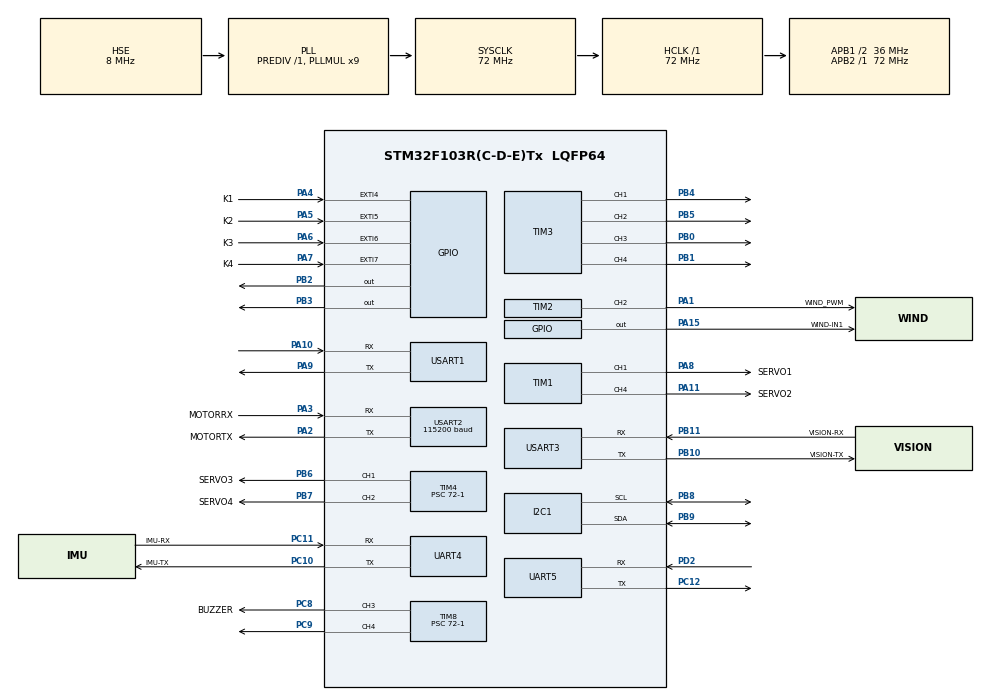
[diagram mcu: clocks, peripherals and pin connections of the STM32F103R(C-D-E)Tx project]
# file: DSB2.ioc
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I2C1.I2C_Mode=I2C_Fast
Mcu.Family=STM32F1
Mcu.Name=STM32F103R(C-D-E)Tx
Mcu.Package=LQFP64
NVIC.EXTI4_IRQn=true\:11\:0\:true\:false\:true\:true\:true\:true
NVIC.EXTI9_5_IRQn=true\:11\:0\:true\:false\:true\:true\:true\:true
NVIC.PriorityGroup=NVIC_PRIORITYGROUP_4
NVIC.TIM5_IRQn=true\:1\:0\:true\:false\:true\:true\:true\:true
NVIC.TIM6_IRQn=true\:1\:0\:true\:false\:true\:true\:true\:true
NVIC.TIM7_IRQn=true\:2\:0\:true\:false\:true\:true\:true\:true
NVIC.UART4_IRQn=true\:0\:0\:false\:false\:true\:true\:true\:true
NVIC.UART5_IRQn=true\:0\:0\:true\:false\:true\:true\:true\:true
NVIC.USART2_IRQn=true\:0\:0\:false\:false\:true\:true\:true\:true
NVIC.USART3_IRQn=true\:1\:0\:true\:false\:true\:true\:true\:true
PA1.GPIO_Label=WIND_PWM
PA1.Signal=S_TIM2_CH2
PA10.Mode=Asynchronous
PA10.Signal=USART1_RX
PA11.GPIO_Label=SERVO2
PA11.Signal=S_TIM1_CH4
PA13.Mode=Serial_Wire
PA13.Signal=SYS_JTMS-SWDIO
PA14.Mode=Serial_Wire
PA14.Signal=SYS_JTCK-SWCLK
PA15.GPIO_Label=WIND-IN1
PA15.Signal=GPIO_Output
PA2.GPIO_Label=MOTORTX
PA2.Mode=Asynchronous
PA2.Signal=USART2_TX
PA3.GPIO_Label=MOTORRX
PA3.Mode=Asynchronous
PA3.Signal=USART2_RX
PA4.GPIO_Label=K1
PA4.GPIO_PuPd=GPIO_PULLUP
PA4.Signal=GPXTI4
PA5.GPIO_Label=K2
PA5.GPIO_PuPd=GPIO_PULLUP
PA5.Signal=GPXTI5
PA6.GPIO_Label=K3
PA6.GPIO_PuPd=GPIO_PULLUP
PA6.Signal=GPXTI6
PA7.GPIO_Label=K4
PA7.GPIO_PuPd=GPIO_PULLUP
PA7.Signal=GPXTI7
PA8.GPIO_Label=SERVO1
PA8.Signal=S_TIM1_CH1
PA9.Mode=Asynchronous
PA9.Signal=USART1_TX
PB0.Signal=S_TIM3_CH3
PB1.Signal=S_TIM3_CH4
PB10.GPIO_Label=VISION-TX
PB10.Mode=Asynchronous
PB10.Signal=USART3_TX
PB11.GPIO_Label=VISION-RX
PB11.Mode=Asynchronous
PB11.Signal=USART3_RX
PB2.Signal=GPIO_Output
PB3.Signal=GPIO_Output
PB4.Signal=S_TIM3_CH1
PB5.Signal=S_TIM3_CH2
PB6.GPIO_Label=SERVO3
PB6.Signal=S_TIM4_CH1
PB7.GPIO_Label=SERVO4
PB7.Signal=S_TIM4_CH2
PB8.Mode=I2C
PB8.Signal=I2C1_SCL
PB9.Mode=I2C
PB9.Signal=I2C1_SDA
PC10.GPIO_Label=IMU-TX
PC10.Mode=Asynchronous
PC10.Signal=UART4_TX
PC11.GPIO_Label=IMU-RX
PC11.Mode=Asynchronous
PC11.Signal=UART4_RX
PC12.Mode=Asynchronous
PC12.Signal=UART5_TX
PC8.GPIO_Label=BUZZER
PC8.Signal=S_TIM8_CH3
PC9.Signal=S_TIM8_CH4
PD0-OSC_IN.Mode=HSE-External-Oscillator
PD0-OSC_IN.Signal=RCC_OSC_IN
PD1-OSC_OUT.Mode=HSE-External-Oscillator
PD1-OSC_OUT.Signal=RCC_OSC_OUT
PD2.Mode=Asynchronous
PD2.Signal=UART5_RX
ProjectManager.HeapSize=0x200
ProjectManager.StackSize=0x400
ProjectManager.TargetToolchain=STM32CubeIDE
RCC.AHBFreq_Value=72000000
RCC.APB1CLKDivider=RCC_HCLK_DIV2
RCC.APB1Freq_Value=36000000
RCC.APB1TimFreq_Value=72000000
RCC.APB2Freq_Value=72000000
RCC.APB2TimFreq_Value=72000000
RCC.HCLKFreq_Value=72000000
RCC.PLLMUL=RCC_PLL_MUL9
RCC.PLLSourceVirtual=RCC_PLLSOURCE_HSE
RCC.SYSCLKFreq_VALUE=72000000
RCC.SYSCLKSource=RCC_SYSCLKSOURCE_PLLCLK
RCC.USBFreq_Value=72000000
SH.S_TIM1_CH1.0=TIM1_CH1,PWM Generation1 CH1
SH.S_TIM1_CH4.0=TIM1_CH4,PWM Generation4 CH4
SH.S_TIM2_CH2.0=TIM2_CH2,PWM Generation2 CH2
SH.S_TIM3_CH1.0=TIM3_CH1,PWM Generation1 CH1
SH.S_TIM3_CH2.0=TIM3_CH2,PWM Generation2 CH2
SH.S_TIM3_CH3.0=TIM3_CH3,PWM Generation3 CH3
SH.S_TIM3_CH4.0=TIM3_CH4,PWM Generation4 CH4
SH.S_TIM4_CH1.0=TIM4_CH1,PWM Generation1 CH1
SH.S_TIM4_CH2.0=TIM4_CH2,PWM Generation2 CH2
SH.S_TIM8_CH3.0=TIM8_CH3,PWM Generation3 CH3
SH.S_TIM8_CH4.0=TIM8_CH4,PWM Generation4 CH4
TIM1.Channel-PWM\ Generation1\ CH1=TIM_CHANNEL_1
TIM1.Channel-PWM\ Generation4\ CH4=TIM_CHANNEL_4
TIM2.Channel-PWM\ Generation2\ CH2=TIM_CHANNEL_2
TIM2.Period=1000
TIM2.Prescaler=2
TIM3.Channel-PWM\ Generation1\ CH1=TIM_CHANNEL_1
TIM3.Channel-PWM\ Generation2\ CH2=TIM_CHANNEL_2
TIM3.Channel-PWM\ Generation3\ CH3=TIM_CHANNEL_3
TIM3.Channel-PWM\ Generation4\ CH4=TIM_CHANNEL_4
TIM4.Channel-PWM\ Generation1\ CH1=TIM_CHANNEL_1
TIM4.Channel-PWM\ Generation2\ CH2=TIM_CHANNEL_2
TIM4.Period=20000-1
TIM4.Prescaler=72-1
TIM4.Pulse-PWM\ Generation1\ CH1=870
TIM4.Pulse-PWM\ Generation2\ CH2=2167
TIM5.Period=500-1
TIM5.Prescaler=720-1
TIM6.AutoReloadPreload=TIM_AUTORELOAD_PRELOAD_ENABLE
TIM6.Period=10000-1
TIM6.Prescaler=72-1
TIM7.AutoReloadPreload=TIM_AUTORELOAD_PRELOAD_ENABLE
TIM7.Period=20000-1
TIM7.Prescaler=72-1
TIM8.AutoReloadPreload=TIM_AUTORELOAD_PRELOAD_ENABLE
TIM8.Channel-PWM\ Generation3\ CH3=TIM_CHANNEL_3
TIM8.Channel-PWM\ Generation4\ CH4=TIM_CHANNEL_4
TIM8.Period=999
TIM8.Prescaler=72-1
UART4.VirtualMode=Asynchronous
UART5.VirtualMode=Asynchronous
USART1.VirtualMode=VM_ASYNC
USART2.BaudRate=115200
USART2.VirtualMode=VM_ASYNC
USART3.VirtualMode=VM_ASYNC
VP_TIM5_VS_ClockSourceINT.Mode=Internal
VP_TIM6_VS_ClockSourceINT.Mode=Enable_Timer
VP_TIM7_VS_ClockSourceINT.Mode=Enable_Timer
board=custom

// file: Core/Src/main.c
/* USER CODE BEGIN Header */
/**
  ******************************************************************************
  * @file           : main.c
  * @brief          : Main program body
  ******************************************************************************
  * @attention
  *
  * Copyright (c) 2025 STMicroelectronics.
  * All rights reserved.
  *
  * This software is licensed under terms that can be found in the LICENSE file
  * in the root directory of this software component.
  * If no LICENSE file comes with this software, it is provided AS-IS.
  *
  ******************************************************************************
  */
/* USER CODE END Header */
#include "main.h"
#include "i2c.h"
#include "tim.h"
#include "usart.h"
#include "gpio.h"

/* USER CODE BEGIN Includes */
#include "buzzer/buzzer.h"
#include "uart2_motor_frame_tx/uart2_motor_frame_tx.h"
#include "oled\font.h"
#include "oled\oled.h"
#include "motor_rx\motor_rx.h"
#include <stdio.h>
#include <stdlib.h>
#include "linetracker_uart5/linetracker_uart5.h"
#include "wind\wind.h"
#include "key/key.h"
#include "imu_uart4/imu_uart4.h"
#include "yaw_pid_control/yaw_pid_control.h"
#include "yaw_pid_control/yaw_ramp.h"
#include "line_follow_pid/line_follow_pid.h"
#include "servo_control/servo_control.h"
#include "process.h"
#include "vision_parser/vision_parser.h"
#include "move_while_rotating/move_while_rotating.h"
#include "vision_parser/vision_align.h"
/* USER CODE END Includes */

void SystemClock_Config(void);

int main(void)
{

  /* MCU Configuration--------------------------------------------------------*/

  /* Reset of all peripherals, Initializes the Flash interface and the Systick. */
  HAL_Init();

  /* Configure the system clock */
  SystemClock_Config();

  /* Initialize all configured peripherals */
  MX_GPIO_Init();
  MX_I2C1_Init();
  MX_TIM1_Init();
  MX_TIM6_Init();
  MX_TIM7_Init();
  MX_TIM8_Init();
  MX_UART4_Init();
  MX_UART5_Init();
  MX_USART1_UART_Init();
  MX_USART2_UART_Init();
  MX_USART3_UART_Init();
  MX_TIM4_Init();
  MX_TIM3_Init();
  MX_TIM2_Init();
  MX_TIM5_Init();
  /* USER CODE BEGIN 2 */
  ///初始化状态：初始化完成蜂鸣器响应
    process_Init();
  /* USER CODE END 2 */

  /* Infinite loop */
  /* USER CODE BEGIN WHILE */
    char buffer[20];

    ///process0：等待发车状态
    process_0();

    ///process1：开始巡线
    process_1();

    ///process:2：巡线终点停车并蜂鸣器响应
    process_2();

    ///process3: 前往目标位置
    process_3();

    ///process4: 视觉校准目标
    process_4();

    ///process5：返回巡线终点
    process_5();

    ///process6：巡线，返回发车区
    process_6();
  while (1)
  {
    /* USER CODE END WHILE */

  }
}

void SystemClock_Config(void)
{
  RCC_OscInitTypeDef RCC_OscInitStruct = {0};
  RCC_ClkInitTypeDef RCC_ClkInitStruct = {0};

  /** Initializes the RCC Oscillators according to the specified parameters
  * in the RCC_OscInitTypeDef structure.
  */
  RCC_OscInitStruct.OscillatorType = RCC_OSCILLATORTYPE_HSE;
  RCC_OscInitStruct.HSEState = RCC_HSE_ON;
  RCC_OscInitStruct.HSEPredivValue = RCC_HSE_PREDIV_DIV1;
  RCC_OscInitStruct.HSIState = RCC_HSI_ON;
  RCC_OscInitStruct.PLL.PLLState = RCC_PLL_ON;
  RCC_OscInitStruct.PLL.PLLSource = RCC_PLLSOURCE_HSE;
  RCC_OscInitStruct.PLL.PLLMUL = RCC_PLL_MUL9;
  if (HAL_RCC_OscConfig(&RCC_OscInitStruct) != HAL_OK)
  {
    Error_Handler();
  }

  /** Initializes the CPU, AHB and APB buses clocks
  */
  RCC_ClkInitStruct.ClockType = RCC_CLOCKTYPE_HCLK|RCC_CLOCKTYPE_SYSCLK
                              |RCC_CLOCKTYPE_PCLK1|RCC_CLOCKTYPE_PCLK2;
  RCC_ClkInitStruct.SYSCLKSource = RCC_SYSCLKSOURCE_PLLCLK;
  RCC_ClkInitStruct.AHBCLKDivider = RCC_SYSCLK_DIV1;
  RCC_ClkInitStruct.APB1CLKDivider = RCC_HCLK_DIV2;
  RCC_ClkInitStruct.APB2CLKDivider = RCC_HCLK_DIV1;

  if (HAL_RCC_ClockConfig(&RCC_ClkInitStruct, FLASH_LATENCY_2) != HAL_OK)
  {
    Error_Handler();
  }
}

void Error_Handler(void)
{
  __disable_irq();
  while (1)
  {
  }
}
